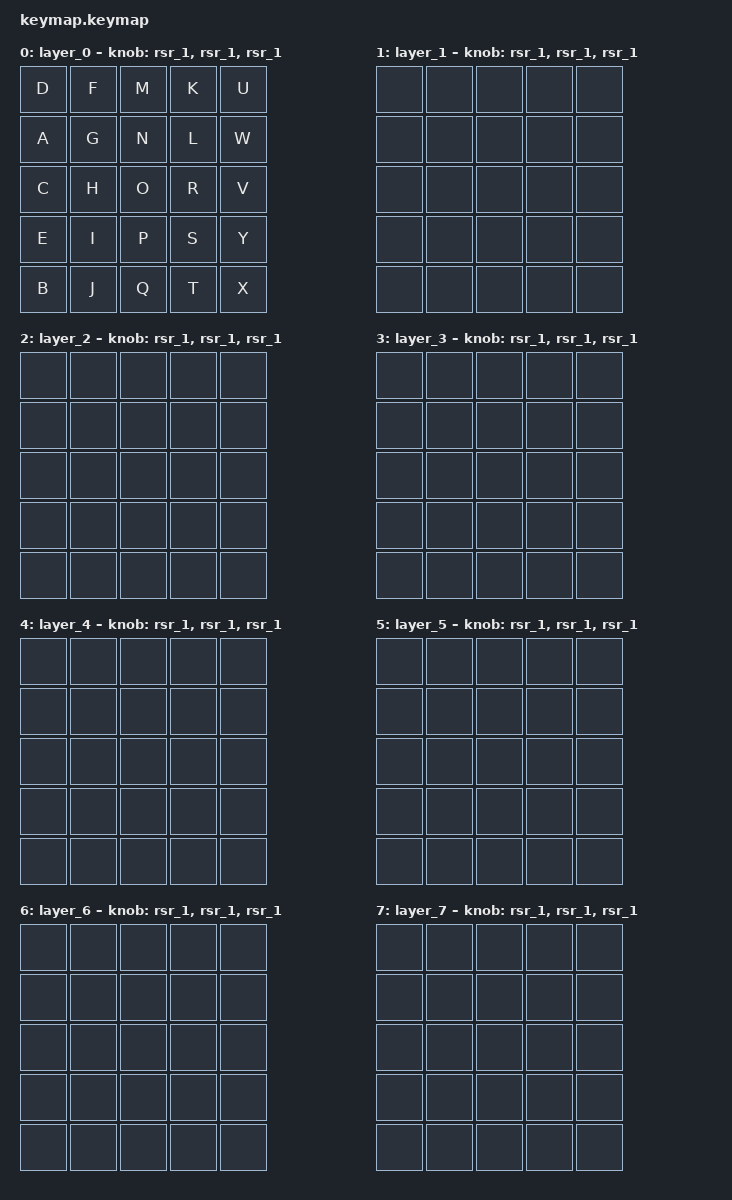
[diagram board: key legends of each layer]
#define ZMK_POINTING_DEFAULT_SCRL_VAL 80

#include <behaviors/runtime-sensor-rotate.dtsi>
#include <behaviors.dtsi>
#include <dt-bindings/zmk/bt.h>
#include <dt-bindings/zmk/keys.h>

/ {
    behaviors {
        tap_hold300: tap_hold300 {
            compatible = "zmk,behavior-hold-tap";
            label = "TAP_HOLD300";
            bindings = <&kp>, <&kp>;

            #binding-cells = <2>;
            tapping-term-ms = <300>;
            flavor = "balanced";
        };

        tap_hold200: tap_hold200 {
            compatible = "zmk,behavior-hold-tap";
            label = "TAP_HOLD200";
            bindings = <&kp>, <&kp>;

            #binding-cells = <2>;
            tapping-term-ms = <200>;
            flavor = "balanced";
        };

        rsr_1: rsr_1 {
            compatible = "zmk,behavior-runtime-sensor-rotate";
            #sensor-binding-cells = <0>;
            tap-ms = <5>;
            cw-binding = <&kp PG_DN>;
            ccw-binding = <&kp PG_UP>;
        };
        scroll: scroll {
            compatible = "zmk,behavior-sensor-rotate-var";
            label = "SCROLL";
            #sensor-binding-cells = <2>;
            bindings = <&msc>, <&msc>;

            tap-ms = <20>;
        };
    };

    macros {
        hold300: hold300 {
            compatible = "zmk,behavior-hold-tap";
            label = "HOLD300";
            bindings = <&kp>, <&none>;

            #binding-cells = <2>;
            tapping-term-ms = <300>;
            flavor = "balanced";
        };

        hold200: hold200 {
            compatible = "zmk,behavior-hold-tap";
            label = "HOLD200";
            bindings = <&kp>, <&none>;

            #binding-cells = <2>;
            tapping-term-ms = <200>;
            flavor = "balanced";
        };

        tap_toglayer3000: tap_toglayer3000 {
            compatible = "zmk,behavior-hold-tap";
            label = "TAP_TOGLAYER3000";
            bindings = <&tog>, <&kp>;

            #binding-cells = <2>;
            tapping-term-ms = <3000>;
            flavor = "balanced";
        };

        tap_toglayer1500: tap_toglayer1500 {
            compatible = "zmk,behavior-hold-tap";
            label = "TAP_TOGLAYER1500";
            bindings = <&tog>, <&kp>;

            #binding-cells = <2>;
            tapping-term-ms = <1500>;
            flavor = "balanced";
        };

        tap_bt3000: tap_bt3000 {
            compatible = "zmk,behavior-hold-tap";
            label = "TAP_BT3000";
            bindings = <&bt>, <&kp>;

            #binding-cells = <2>;
            tapping-term-ms = <3000>;
            flavor = "balanced";
        };
    };

    keymap {
        compatible = "zmk,keymap";
        sensors = <&encoder1>, <&encoder2>, <&encoder3>;

        layer_0 {
            bindings = <
&kp D  &kp F  &kp M  &kp K  &kp U
&kp A  &kp G  &kp N  &kp L  &kp W
&kp C  &kp H  &kp O  &kp R  &kp V
&kp E  &kp I  &kp P  &kp S  &kp Y
&kp B  &kp J  &kp Q  &kp T  &kp X
            >;

            sensor-bindings =
                <&rsr_1>,
                <&rsr_1>,
                <&rsr_1>;
        };

        layer_1 {
            bindings = <
&none  &none  &none  &none  &none
&none  &none  &none  &none  &none
&none  &none  &none  &none  &none
&none  &none  &none  &none  &none
&none  &none  &none  &none  &none
            >;

            sensor-bindings =
                <&rsr_1>,
                <&rsr_1>,
                <&rsr_1>;
        };

        layer_2 {
            bindings = <
&none  &none  &none  &none  &none
&none  &none  &none  &none  &none
&none  &none  &none  &none  &none
&none  &none  &none  &none  &none
&none  &none  &none  &none  &none
            >;

            sensor-bindings =
                <&rsr_1>,
                <&rsr_1>,
                <&rsr_1>;
        };

        layer_3 {
            bindings = <
&none  &none  &none  &none  &none
&none  &none  &none  &none  &none
&none  &none  &none  &none  &none
&none  &none  &none  &none  &none
&none  &none  &none  &none  &none
            >;

            sensor-bindings =
                <&rsr_1>,
                <&rsr_1>,
                <&rsr_1>;
        };

        layer_4 {
            bindings = <
&none  &none  &none  &none  &none
&none  &none  &none  &none  &none
&none  &none  &none  &none  &none
&none  &none  &none  &none  &none
&none  &none  &none  &none  &none
            >;

            sensor-bindings =
                <&rsr_1>,
                <&rsr_1>,
                <&rsr_1>;
        };

        layer_5 {
            bindings = <
&none  &none  &none  &none  &none
&none  &none  &none  &none  &none
&none  &none  &none  &none  &none
&none  &none  &none  &none  &none
&none  &none  &none  &none  &none
            >;

            sensor-bindings =
                <&rsr_1>,
                <&rsr_1>,
                <&rsr_1>;
        };

        layer_6 {
            bindings = <
&none  &none  &none  &none  &none
&none  &none  &none  &none  &none
&none  &none  &none  &none  &none
&none  &none  &none  &none  &none
&none  &none  &none  &none  &none
            >;

            sensor-bindings =
                <&rsr_1>,
                <&rsr_1>,
                <&rsr_1>;
        };

        layer_7 {
            bindings = <
&none  &none  &none  &none  &none
&none  &none  &none  &none  &none
&none  &none  &none  &none  &none
&none  &none  &none  &none  &none
&none  &none  &none  &none  &none
            >;

            sensor-bindings =
                <&rsr_1>,
                <&rsr_1>,
                <&rsr_1>;
        };
    };
};
